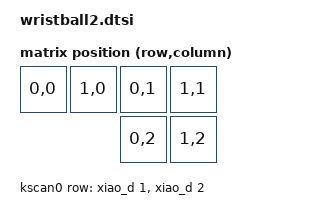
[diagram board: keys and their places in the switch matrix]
#include <dt-bindings/zmk/matrix_transform.h>
#include <physical_layouts.dtsi>

/ {
    chosen {
        zmk,physical-layout = &wristball2_physical_layout;
        zmk,battery = &non_lipo_battery;
    };

    wristball2_physical_layout: wristball2_physical_layout {
        compatible = "zmk,physical-layout";
        display-name = "Default";
        transform = <&default_transform>;
        kscan = <&kscan0>;

        keys  //                     w   h    x    y     rot    rx    ry
            = <&key_physical_attrs 100 100    0    0       0     0     0>
            , <&key_physical_attrs 100 100  100    0       0     0     0>
            , <&key_physical_attrs 100 100  200    0       0     0     0>
            , <&key_physical_attrs 100 100  300    0       0     0     0>
            , <&key_physical_attrs 100 100  200  100       0     0     0>
            , <&key_physical_attrs 100 100  300  100       0     0     0>
            ;
    };

    default_transform: keymap_transform_0 {
        compatible = "zmk,matrix-transform";
        columns = <3>;
        rows = <2>;
        map = <
            RC(0,0) RC(1,0) RC(0,1) RC(1,1)
                            RC(0,2) RC(1,2)
        >;
    };

    kscan0: kscan {
        compatible = "zmk,kscan-gpio-matrix";
        label = "KSCAN";
        diode-direction = "col2row";
            row-gpios
                = <&xiao_d 1 (GPIO_ACTIVE_HIGH | GPIO_PULL_DOWN)>
                , <&xiao_d 2 (GPIO_ACTIVE_HIGH | GPIO_PULL_DOWN)>
                ;
    };

    trackball_listener: trackball_listener {
        status = "disabled";
        compatible = "zmk,input-listener";
    };

    vbatt: vbatt {
        // Disable default battery monitoring
        status = "disabled";
    };
    non_lipo_battery: non_lipo_battery {
        compatible = "zmk,non-lipo-battery";
        io-channels = <&adc 0>;
    };


};

&adc {
    status = "okay";
};

&spi0 {
    status = "disabled";

    trackball: trackball@0 {
        status = "disabled";
        reg = <0>;
    };
};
